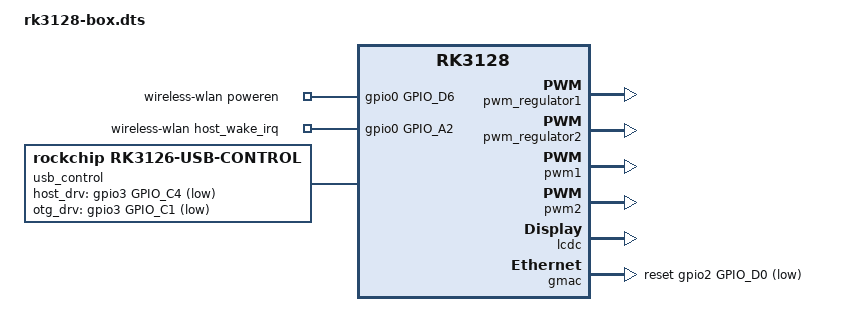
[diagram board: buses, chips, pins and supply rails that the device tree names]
#include "rk312x-sdk.dtsi"
#include "lcd-box.dtsi"

/ {
	 compatible = "rockchip,rk3128";
	wireless-wlan {
		compatible = "wlan-platdata";

		wifi_chip_type = "";
		sdio_vref = <0>; //1800mv or 3300mv

		//power_ctrl_by_pmu;
		//power_pmu_regulator = "act_ldo3";
		//power_pmu_enable_level = <1>; //1->HIGH, 0->LOW

		//vref_ctrl_enable;
		//vref_ctrl_gpio = <&gpio0 GPIO_A2 GPIO_ACTIVE_HIGH>;
		//vref_pmu_regulator = "act_ldo3";
		//vref_pmu_enable_level = <1>; //1->HIGH, 0->LOW

		WIFI,poweren_gpio = <&gpio0 GPIO_D6 GPIO_ACTIVE_HIGH>;
		WIFI,host_wake_irq = <&gpio0 GPIO_A2 GPIO_ACTIVE_HIGH>;
		//WIFI,reset_gpio = <&gpio0 GPIO_A2 GPIO_ACTIVE_LOW>;

		status = "okay";
    };

    wireless-bluetooth {
        compatible = "bluetooth-platdata";

        //wifi-bt-power-toggle;

     	uart_rts_gpios = <&gpio0 GPIO_C2 GPIO_ACTIVE_LOW>;
        pinctrl-names = "default","rts_gpio";
        pinctrl-0 = <&uart0_rts>;
        pinctrl-1 = <&uart0_rts_gpio>;

        //BT,power_gpio = <&gpio4 GPIO_D3 GPIO_ACTIVE_HIGH>;
	BT,reset_gpio = <&gpio3 GPIO_C5 GPIO_ACTIVE_HIGH>;
	BT,wake_gpio = <&gpio1 GPIO_B4 GPIO_ACTIVE_HIGH>;
	BT,wake_host_irq = <&gpio0 GPIO_A2 GPIO_ACTIVE_LOW>;

        status = "disabled";
    };
	usb_control {
		compatible = "rockchip,rk3126-usb-control";
		host_drv_gpio = <&gpio3 GPIO_C4 GPIO_ACTIVE_LOW>;
		otg_drv_gpio = <&gpio3 GPIO_C1 GPIO_ACTIVE_LOW>;

		rockchip,remote_wakeup;
		rockchip,usb_irq_wakeup;
	};
};


&clk_core_dvfs_table {
	operating-points = <
		/* KHz    uV */
		/*408000 1250000
		600000 1250000
		696000 1250000
		*/
		816000 1250000
		1008000 1250000
		>;
	status="okay";
};

&clk_gpu_dvfs_table {
	operating-points = <
		/* KHz    uV */
		200000 1250000
		300000 1250000
		>;
	status="okay";
};

&clk_ddr_dvfs_table {
	operating-points = <
		/* KHz    uV */
		200000 950000
		300000 950000
		400000 1000000
		533000 1050000
		>;

	freq-table = <
		/*status		freq(KHz)*/
		SYS_STATUS_NORMAL	400000
		SYS_STATUS_SUSPEND	200000
		SYS_STATUS_VIDEO_1080P  240000
		SYS_STATUS_VIDEO_4K     400000
		SYS_STATUS_PERFORMANCE  528000
		SYS_STATUS_DUALVIEW	400000
		SYS_STATUS_BOOST	324000
		SYS_STATUS_ISP		533000
		>;
	auto-freq-table = <
		240000
		324000
		396000
		528000
		>;
	auto-freq=<0>;
	status="disable";
};

&pwm_regulator1 {
	status = "okay";
};

&pwm_regulator2 {
	status = "okay";
};

&pwm1 {
	status = "okay";
};

&pwm2 {
	status = "okay";
};

&rk_screen {
	display-timings = <&disp_timings>;
};

&lcdc {
	status = "okay";
};

&tve {
	status = "disabled";
};

&i2c2 {
	status = "disabled";
};

&gmac {
	//pmu_regulator = "act_ldo5";
	//pmu_enable_level = <1>; //1->HIGH, 0->LOW
	//power-gpio = <&gpio0 GPIO_A6 GPIO_ACTIVE_HIGH>;
	reset-gpio = <&gpio2 GPIO_D0 GPIO_ACTIVE_LOW>;
};

&codec {
	hp_ctl_io = <&gpio1 GPIO_A3 0>;
};
